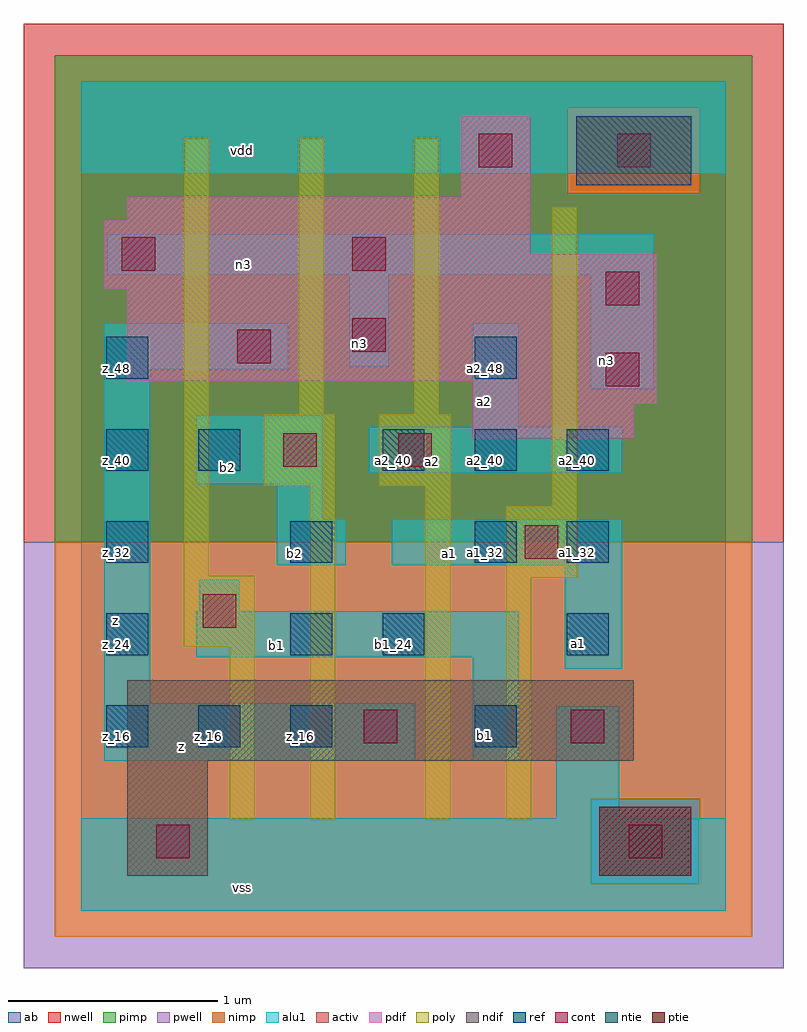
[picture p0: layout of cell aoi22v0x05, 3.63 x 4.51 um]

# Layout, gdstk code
import gdstk
lib = gdstk.Library(unit=1e-6, precision=2.5e-09)
def R(c, l, rs):  # rectangles x0, y0, x1, y1
    for r in rs: c.add(gdstk.rectangle(r[:2], r[2:], *l))
def A(c, l, x, y, w, h, nx, ny, dx, dy):  # array of equal rectangles
    R(c, l, [(x+i*dx, y+j*dy, x+i*dx+w, y+j*dy+h) for i in range(nx) for j in range(ny)])
ndif = (3, 0)
pdif = (4, 0)
ntie = (5, 0)
ptie = (6, 0)
ref = (24, 0)
cont = (25, 0)
pwell = (41, 0)
nwell = (42, 0)
activ = (43, 0)
pimp = (44, 0)
nimp = (45, 0)
poly = (46, 0)
alu1 = (49, 0)
ab = (63, 0)

aoi22v0x05 = lib.new_cell('aoi22v0x05')
R(aoi22v0x05, ndif, [(0.22,0.165,0.605,0.715), (0.22,0.715,2.64,1.1)])
R(aoi22v0x05, pdif, [(1.87,2.255,2.64,2.42), (1.87,2.42,2.75,2.53), (0.22,2.53,2.75,2.97), (0.11,2.97,2.75,3.135), (0.11,3.135,2.145,3.3), (0.22,3.3,2.145,3.41), (1.815,3.41,2.145,3.795)])
R(aoi22v0x05, ntie, [(2.365,3.465,2.915,3.795)])
R(aoi22v0x05, ptie, [(2.475,0.165,2.915,0.495)])
A(aoi22v0x05, ref, 0.12, 0.78, 0.2, 0.2, 3, 1, 0.44, 0)
A(aoi22v0x05, ref, 0.12, 1.66, 0.2, 0.2, 3, 1, 0.88, 0)
A(aoi22v0x05, ref, 1.44, 2.1, 0.2, 0.2, 3, 1, 0.44, 0)
R(aoi22v0x05, ref, [(1.88,0.78,2.08,0.98), (0.12,1.22,0.32,1.42), (1,1.22,1.2,1.42), (1.44,1.22,1.64,1.42), (2.32,1.22,2.52,1.42), (2.32,1.66,2.52,1.86), (0.12,2.1,0.32,2.3), (0.56,2.1,0.76,2.3), (0.12,2.54,0.32,2.74), (1.88,2.54,2.08,2.74)])
R(aoi22v0x05, cont, [(0.36,0.25,0.52,0.41), (2.615,0.25,2.775,0.41), (1.35,0.8,1.51,0.96), (2.34,0.8,2.5,0.96), (0.58,1.35,0.74,1.51), (2.12,1.68,2.28,1.84), (0.965,2.12,1.125,2.28), (1.515,2.12,1.675,2.28), (2.505,2.505,2.665,2.665), (0.745,2.615,0.905,2.775), (1.295,2.67,1.455,2.83), (2.505,2.89,2.665,3.05), (0.195,3.055,0.355,3.215), (1.295,3.055,1.455,3.215), (1.9,3.55,2.06,3.71), (2.56,3.55,2.72,3.71)])
R(aoi22v0x05, pwell, [(-0.275,-0.275,3.355,1.76)])
R(aoi22v0x05, nwell, [(-0.275,1.76,3.355,4.235)])
R(aoi22v0x05, activ, [(0.22,0.165,0.605,0.715), (2.475,0.165,2.915,0.495), (0.22,0.715,2.64,1.1), (1.87,2.255,2.64,2.42), (1.87,2.42,2.75,2.53), (0.22,2.53,2.75,2.97), (0.11,2.97,2.75,3.135), (0.11,3.135,2.145,3.3), (0.22,3.3,2.145,3.41), (1.815,3.41,2.145,3.795), (2.365,3.465,2.915,3.795)])
R(aoi22v0x05, pimp, [(2.435,0.125,2.955,0.535), (-0.125,1.76,3.205,3.425), (-0.125,3.425,2.325,3.835), (2.955,3.425,3.205,3.835), (-0.125,3.835,3.205,4.085)])
R(aoi22v0x05, nimp, [(-0.125,-0.125,3.205,0.125), (-0.125,0.125,2.435,0.535), (2.955,0.125,3.205,0.535), (-0.125,0.535,3.205,1.76), (2.325,3.425,2.955,3.835)])
R(aoi22v0x05, poly, [(0.71,0.435,0.83,1.26), (1.095,0.435,1.215,2.03), (1.645,0.435,1.765,2.03), (2.03,0.435,2.15,1.59), (0.49,1.26,0.83,1.6), (2.03,1.59,2.37,1.93), (0.49,1.6,0.61,3.69), (2.25,1.93,2.37,3.36), (0.875,2.03,1.215,2.37), (1.425,2.03,1.765,2.37), (1.04,2.37,1.16,3.69), (1.59,2.37,1.71,3.69)])
R(aoi22v0x05, alu1, [(0,0,3.08,0.44), (2.27,0.44,2.57,0.975), (0.11,0.715,1.595,0.99), (1.87,0.715,2.09,1.21), (0.11,0.99,0.33,2.585), (2.31,1.155,2.585,1.65), (0.55,1.21,2.09,1.43), (0.565,1.43,0.755,1.58), (0.935,1.65,1.265,1.87), (1.485,1.65,2.585,1.87), (0.935,1.87,1.155,2.035), (0.55,2.035,1.155,2.365), (1.375,2.09,2.585,2.31), (1.87,2.31,2.09,2.805), (2.435,2.49,2.735,3.04), (0.11,2.585,0.99,2.805), (1.28,2.6,1.47,3.04), (0.125,3.04,2.735,3.23), (0,3.52,3.08,3.96)])
R(aoi22v0x05, ab, [(0,0,3.08,3.96)])
aoi22v0x05.add(gdstk.Label('vss', (0.77,0.11), layer=49, texttype=0))
aoi22v0x05.add(gdstk.Label('a1', (2.3775,1.2775), layer=49, texttype=0))
aoi22v0x05.add(gdstk.Label('b1', (1.925,0.8375), layer=49, texttype=0))
aoi22v0x05.add(gdstk.Label('z', (0.48,0.7825), layer=49, texttype=0))
aoi22v0x05.add(gdstk.Label('b1', (0.935,1.265), layer=49, texttype=0))
aoi22v0x05.add(gdstk.Label('a1', (1.76,1.705), layer=49, texttype=0))
aoi22v0x05.add(gdstk.Label('b2', (1.0175,1.705), layer=49, texttype=0))
aoi22v0x05.add(gdstk.Label('a2', (1.6775,2.145), layer=49, texttype=0))
aoi22v0x05.add(gdstk.Label('n3', (2.51,2.6275), layer=49, texttype=0))
aoi22v0x05.add(gdstk.Label('a2', (1.925,2.4325), layer=49, texttype=0))
aoi22v0x05.add(gdstk.Label('b2', (0.7,2.1175), layer=49, texttype=0))
aoi22v0x05.add(gdstk.Label('z', (0.165,1.3875), layer=49, texttype=0))
aoi22v0x05.add(gdstk.Label('n3', (1.3275,2.71), layer=49, texttype=0))
aoi22v0x05.add(gdstk.Label('n3', (0.7775,3.0875), layer=49, texttype=0))
aoi22v0x05.add(gdstk.Label('vdd', (0.77,3.63), layer=49, texttype=0))
aoi22v0x05.add(gdstk.Label('z_16', (0.61,0.83), layer=24, texttype=0))
aoi22v0x05.add(gdstk.Label('b2_40', (0.61,2.15), layer=24, texttype=0))
aoi22v0x05.add(gdstk.Label('z_16', (1.05,0.83), layer=24, texttype=0))
aoi22v0x05.add(gdstk.Label('b1_24', (1.05,1.27), layer=24, texttype=0))
aoi22v0x05.add(gdstk.Label('b2_32', (1.05,1.71), layer=24, texttype=0))
aoi22v0x05.add(gdstk.Label('b1_24', (1.49,1.27), layer=24, texttype=0))
aoi22v0x05.add(gdstk.Label('a2_40', (1.49,2.15), layer=24, texttype=0))
aoi22v0x05.add(gdstk.Label('b1_16', (1.93,0.83), layer=24, texttype=0))
aoi22v0x05.add(gdstk.Label('a1_32', (1.93,1.71), layer=24, texttype=0))
aoi22v0x05.add(gdstk.Label('a2_40', (1.93,2.15), layer=24, texttype=0))
aoi22v0x05.add(gdstk.Label('a2_48', (1.93,2.59), layer=24, texttype=0))
aoi22v0x05.add(gdstk.Label('z_16', (0.17,0.83), layer=24, texttype=0))
aoi22v0x05.add(gdstk.Label('z_24', (0.17,1.27), layer=24, texttype=0))
aoi22v0x05.add(gdstk.Label('z_32', (0.17,1.71), layer=24, texttype=0))
aoi22v0x05.add(gdstk.Label('z_40', (0.17,2.15), layer=24, texttype=0))
aoi22v0x05.add(gdstk.Label('z_48', (0.17,2.59), layer=24, texttype=0))
aoi22v0x05.add(gdstk.Label('a1_24', (2.37,1.27), layer=24, texttype=0))
aoi22v0x05.add(gdstk.Label('a1_32', (2.37,1.71), layer=24, texttype=0))
aoi22v0x05.add(gdstk.Label('a2_40', (2.37,2.15), layer=24, texttype=0))

lib.write_gds('aoi22v0x05.gds')
